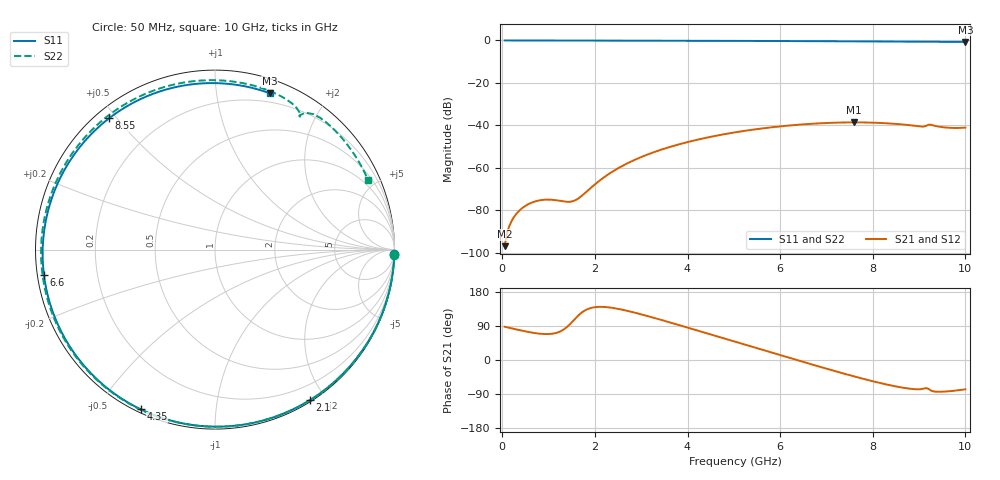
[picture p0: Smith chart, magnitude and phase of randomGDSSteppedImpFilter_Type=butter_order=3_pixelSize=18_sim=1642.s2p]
! freq	dB(S11)	phase(S11)	dB(S12)	phase(S12)
!  dB(S21)	phase(S21)	dB(S22)	phase(S22)
!S-par simulation data
#  GHz  S  DB  R 50
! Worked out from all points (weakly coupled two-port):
!   200 points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, 50 MHz to 10 GHz, reference 50 ohm
!   highest |S21| = -38.56 dB at 7.6 GHz (marker M1); lowest = -96.8 dB at 50 MHz (marker M2)
!   lowest |S11| = -0.7 dB at 10 GHz (marker M3), VSWR 25.00, Z = 5.96 + j70.2 ohm
!   |S11| at or under -10 dB: nowhere
!   |S22| runs from -1.1 to 0.0 dB; largest |S21 - S12| = 0
!   S11 on the Smith chart (normalised r, x): 50 MHz: 1, -80; 2.1 GHz: 0.02, -1.81; 4.35 GHz: 0.01, -0.64; 6.6 GHz: 0.02, -0.07; 8.55 GHz: 0.04, +0.48; 10 GHz: 0.12, +1.40
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0.05  -0.00 -1.4  -96.82 87.8  -96.82 87.8  -0.00 -1.8
0.35  -0.01 -9.9  -80.46 79.4  -80.46 79.4  -0.02 -12.3
0.6  -0.02 -16.9  -76.66 73.1  -76.66 73.1  -0.03 -21.1
0.85  -0.03 -23.9  -75.10 69.0  -75.10 69.0  -0.04 -29.8
1.5  -0.05 -41.8  -75.78 99.4  -75.78 99.4  -0.07 -51.9
1.75  -0.06 -48.6  -72.50 128.2  -72.50 128.2  -0.08 -60.2
2.1  -0.07 -57.9  -65.97 140.3  -65.97 140.3  -0.09 -71.6
2.65  -0.09 -72.3  -58.39 131.1  -58.39 131.1  -0.11 -89.0
3.4  -0.12 -91.4  -51.63 106.9  -51.63 106.9  -0.14 -112.0
4.35  -0.16 -114.9  -46.04 72.8  -46.04 72.8  -0.19 -140.2
5.05  -0.20 -132.1  -43.16 47.2  -43.16 47.2  -0.23 -160.9
5.85  -0.26 -152.0  -40.79 18.1  -40.79 18.1  -0.29 174.9
6.6  -0.32 -171.5  -39.33 -8.8  -39.33 -8.8  -0.35 151.0
6.7  -0.33 -174.2  -39.19 -12.4  -39.19 -12.4  -0.36 147.7
7.6  -0.43 160.1  -38.56 -43.4  -38.56 -43.4  -0.43 116.6
8.35  -0.51 135.9  -39.05 -66.0  -39.05 -66.0  -0.51 88.4
8.55  -0.54 128.9  -39.36 -70.9  -39.36 -70.9  -0.53 80.6
9  -0.59 112.3  -40.40 -77.2  -40.40 -77.2  -0.72 62.3
9.15  -0.61 106.4  -40.23 -74.2  -40.23 -74.2  -1.12 57.4
9.3  -0.62 100.5  -39.94 -82.6  -39.94 -82.6  -0.61 54.1
9.6  -0.66 88.0  -41.02 -82.9  -41.02 -82.9  -0.52 40.4
10  -0.70 70.7  -41.00 -77.4  -41.00 -77.4  -0.57 24.3
